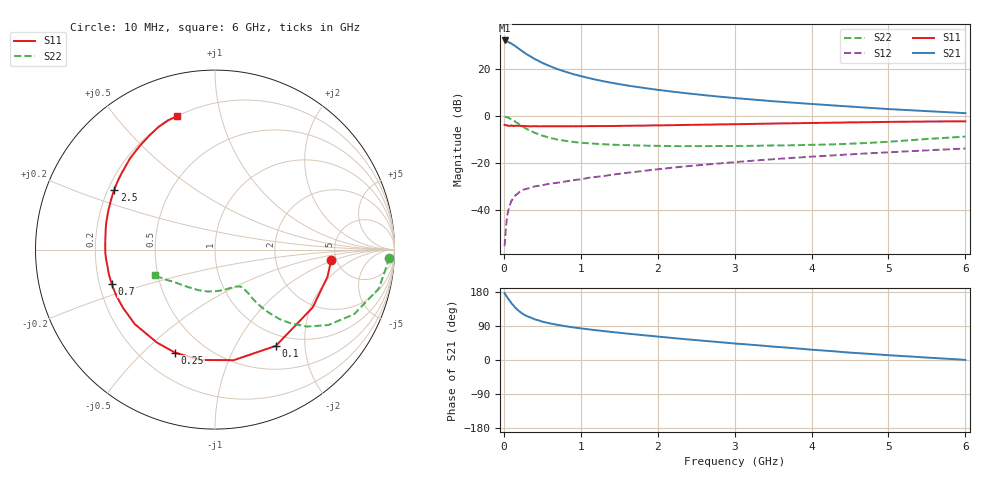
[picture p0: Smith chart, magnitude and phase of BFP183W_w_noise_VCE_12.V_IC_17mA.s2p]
! Infineon Technologies  Discrete & RF Semiconductors
! BFP183W
! VCE =  12. V,  IC =  17 mA
! Common Emitter S-Parameters:  Jan 2017
# GHz  S  MA  R  50
!  f  S11  S21  S12  S22
! GHz  MAG  ANG  MAG  ANG  MAG  ANG  MAG  ANG
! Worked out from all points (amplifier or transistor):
!   77 points, 10 MHz to 6 GHz, reference 50 ohm
!   highest |S21| = 32.2 dB at 10 MHz (marker M1)
!   |S21| within 3 dB of that: start of sweep to 173.2 MHz
!   unconditionally stable (mu >= 1): 1.332 GHz to 3.703 GHz
!   at 130 MHz: K = 0.22, MSG = 32.4 dB, |S12| = -34.7 dB
!   at 2.2 GHz: K = 1.06, MAG = 14.7 dB, |S12| = -21.9 dB
!   at 6 GHz: K = 0.86, MSG = 7.5 dB, |S12| = -13.8 dB
!   lowest NFmin = 1.12 dB at 450 MHz
!   S11 on the Smith chart (normalised r, x): 10 MHz: 4.52, -0.92; 100 MHz: 0.82, -1.48; 250 MHz: 0.34, -0.63; 700 MHz: 0.25, -0.15; 2.5 GHz: 0.23, +0.26; 6 GHz: 0.20, +0.74
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0.01  0.65 -5.2  40.76 176.5  0.0017 71.7  0.9718 -2.6
0.02  0.6447 -13.6  40.28 172.7  0.0029 85.6  0.9612 -5.4
0.05  0.6327 -30.6  38.56 163.6  0.0085 74.4  0.9381 -13.4
0.1  0.6345 -57.7  34.94 149.4  0.0158 66.6  0.8547 -24.9
0.15  0.6249 -80.4  30.77 137.8  0.0204 56.0  0.758 -33.7
0.2  0.6201 -97.5  26.79 128.5  0.0239 52.0  0.6682 -39.9
0.25  0.616 -111.1  23.44 121.2  0.027 47.9  0.5918 -44.1
0.3  0.6107 -122.0  20.6 115.7  0.0283 45.2  0.5293 -47.1
0.4  0.6099 -137.1  16.49 107.3  0.0319 42.9  0.4416 -50.3
0.5  0.6066 -147.4  13.57 101.3  0.0338 43.1  0.3834 -51.8
0.6  0.6069 -155.3  11.54 96.6  0.0364 43.6  0.344 -52.5
0.7  0.6065 -161.6  9.976 92.7  0.0381 45.3  0.3156 -52.6
0.9  0.6063 -171.3  7.843 86.2  0.0432 47.4  0.2824 -53.3
1.1  0.6112 -178.5  6.479 81.0  0.0485 50.6  0.2639 -54.1
1.3  0.6131 175.4  5.499 76.2  0.0529 52.0  0.2517 -55.3
1.5  0.6183 170.4  4.785 71.9  0.059 53.3  0.243 -57.6
2.1  0.6373 156.9  3.46 59.9  0.0769 55.2  0.2311 -67.3
2.5  0.6527 149.3  2.912 52.5  0.0891 55.1  0.2293 -76.1
3.1  0.6753 139.2  2.349 42.1  0.1078 53.9  0.2317 -90.3
4.1  0.7171 124.7  1.766 25.8  0.14 50.0  0.2459 -115.4
5.1  0.7549 113.8  1.383 11.4  0.1729 44.9  0.2916 -141.6
6  0.7732 105.8  1.155 0.3  0.2041 39.2  0.3656 -156.8
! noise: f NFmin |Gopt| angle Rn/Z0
0.45  1.12  0.17  164  -0.02
0.9  1.15  0.23  169  0.09
1.9  1.61  0.4  -165  0.08
2.4  1.84  0.44  -159  0.11
